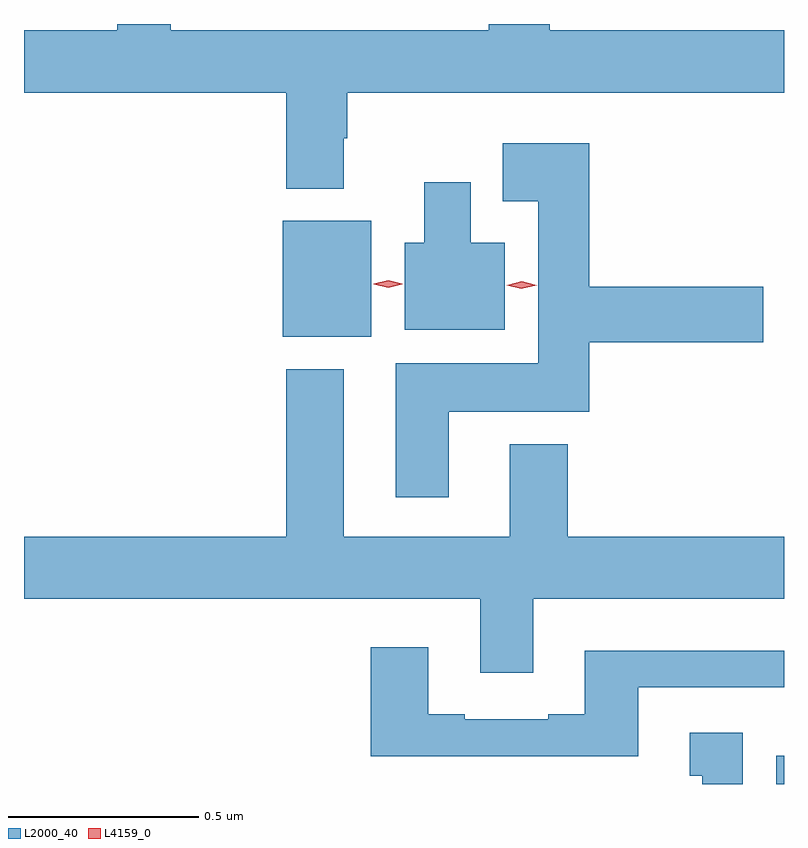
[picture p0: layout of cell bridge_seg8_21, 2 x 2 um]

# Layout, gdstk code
import gdstk
lib = gdstk.Library(unit=1e-6, precision=1e-09)
def R(c, l, rs):  # rectangles x0, y0, x1, y1
    for r in rs: c.add(gdstk.rectangle(r[:2], r[2:], *l))
def P(c, l, *ps):  # polygons
    for p in ps: c.add(gdstk.Polygon(p, *l))
L2000_40 = (2000, 40)
L4159_0 = (4159, 0)

bridge_seg8_21 = lib.new_cell('bridge_seg8_21')
R(bridge_seg8_21, L2000_40, [(901.031,1147.981,901.051,1148.056), (899.732,1149.158,899.965,1149.463)])
P(bridge_seg8_21, L2000_40, [(899.893,1149.68),(899.901,1149.68),(899.901,1149.8),(901.051,1149.8),(901.051,1149.964),(900.434,1149.964),(900.434,1149.981),(900.274,1149.981),(900.274,1149.964),(899.437,1149.964),(899.437,1149.981),(899.297,1149.981),(899.297,1149.964),(899.051,1149.964),(899.051,1149.8),(899.741,1149.8),(899.741,1149.548),(899.893,1149.548)],
  [(900.169,1148.96),(900.539,1148.96),(900.539,1149.143),(900.997,1149.143),(900.997,1149.29),(900.539,1149.29),(900.539,1149.667),(900.311,1149.667),(900.311,1149.515),(900.404,1149.515),(900.404,1149.088),(900.029,1149.088),(900.029,1148.736),(900.169,1148.736)],
  [(900.316,1149.406),(900.226,1149.406),(900.226,1149.565),(900.104,1149.565),(900.104,1149.406),(900.053,1149.406),(900.053,1149.176),(900.316,1149.176)],
  [(900.391,1148.468),(901.051,1148.468),(901.051,1148.632),(900.482,1148.632),(900.482,1148.875),(900.329,1148.875),(900.329,1148.632),(899.893,1148.632),(899.893,1149.073),(899.741,1149.073),(899.741,1148.632),(899.051,1148.632),(899.051,1148.468),(900.251,1148.468),(900.251,1148.274),(900.391,1148.274)],
  [(900.667,1148.235),(901.051,1148.235),(901.051,1148.332),(900.527,1148.332),(900.527,1148.164),(900.431,1148.164),(900.431,1148.151),(900.211,1148.151),(900.211,1148.164),(900.115,1148.164),(900.115,1148.341),(899.963,1148.341),(899.963,1148.054),(900.667,1148.054)],
  [(900.943,1148.116),(900.803,1148.116),(900.803,1148.003),(900.836,1148.003),(900.836,1147.981),(900.943,1147.981)])
P(bridge_seg8_21, L4159_0, [(900.36,1149.284),(900.321,1149.294),(900.321,1149.294),(900.321,1149.294),(900.361,1149.304),(900.4,1149.294),(900.4,1149.293),(900.4,1149.293)],
  [(900.009,1149.287),(899.972,1149.296),(899.971,1149.297),(899.972,1149.297),(900.009,1149.307),(900.047,1149.297),(900.047,1149.297),(900.047,1149.296)])

lib.write_gds('bridge_seg8_21.gds')
